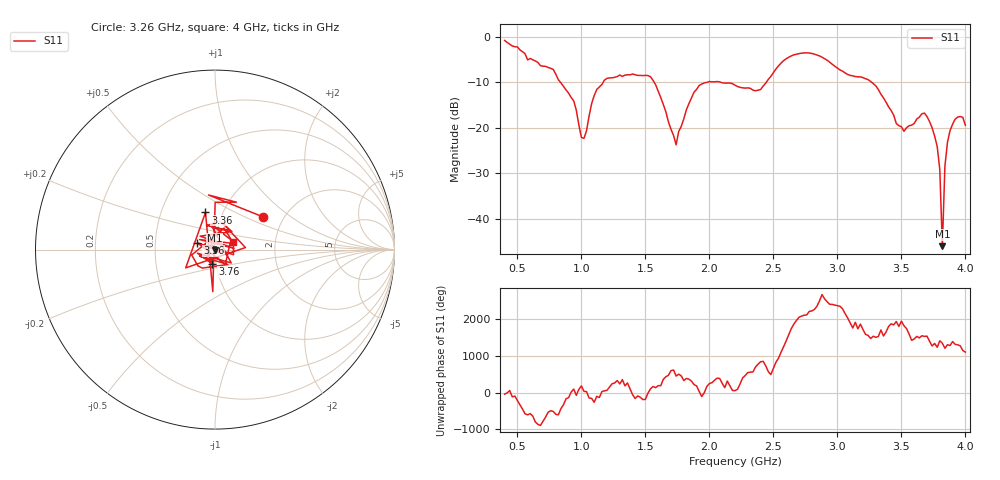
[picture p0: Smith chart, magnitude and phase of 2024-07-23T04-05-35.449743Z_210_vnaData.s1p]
!Created with skrf (http://scikit-rf.org).
# Hz S RI R 50.0
!freq ReS11 ImS11
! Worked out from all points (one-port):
!   181 points, 400 MHz to 4 GHz, reference 50 ohm
!   lowest |S11| = -46.0 dB at 3.82 GHz (marker M1), VSWR 1.01, Z = 50 - j0.497 ohm
!   |S11| at or under -10 dB: 1.569 GHz to 1.98 GHz (410.7 MHz wide, 23.1 % of centre); 2.091 GHz to 2.444 GHz (353.2 MHz wide, 15.6 % of centre); 3.269 GHz to end of sweep (the widest 3 of 4)
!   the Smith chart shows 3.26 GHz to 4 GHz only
!   S11 on the Smith chart (normalised r, x): 3.26 GHz: 1.57, +0.64; 3.36 GHz: 0.83, +0.36; 3.56 GHz: 0.82, +0.06; 3.76 GHz: 0.96, -0.15; 4 GHz: 1.21, +0.10
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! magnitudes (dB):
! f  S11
! 400 MHz  -0.8
! 780 MHz  -7.2
! 860 MHz  -10.9
! 940 MHz  -14.1
! 1 GHz  -22.1
! 1.02 GHz  -22.3
! 1.12 GHz  -11.6
! 1.3 GHz  -8.4
! 1.54 GHz  -8.8
! 1.74 GHz  -23.7
! 1.76 GHz  -20.8
! 1.92 GHz  -10.7
! 2.2 GHz  -10.6
! 2.4 GHz  -11.6
! 2.66 GHz  -3.9
! 3.1 GHz  -8.5
! 3.26 GHz  -9.8
! 3.36 GHz  -13.4
! 3.46 GHz  -19.0
! 3.56 GHz  -19.5
! 3.68 GHz  -16.8
! 3.76 GHz  -21.8
! 3.8 GHz  -29.2
! 3.82 GHz  -46.0
! 3.84 GHz  -28.4
! 3.86 GHz  -23.2
! 3.92 GHz  -18.1
! 4 GHz  -19.4
